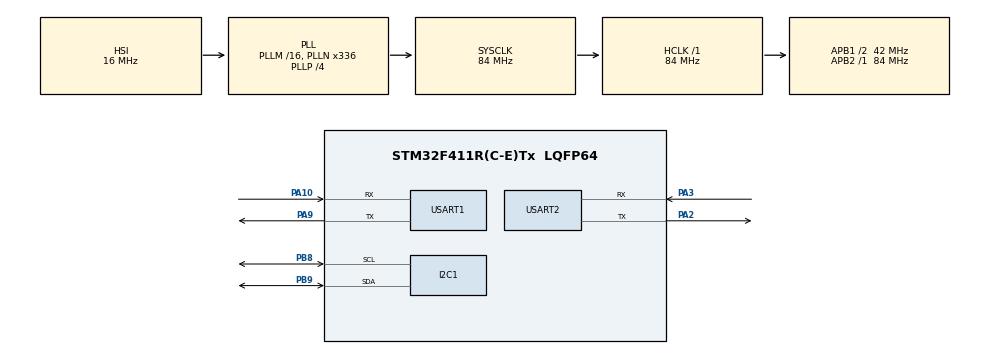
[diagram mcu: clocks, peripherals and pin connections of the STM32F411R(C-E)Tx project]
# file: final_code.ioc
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FREERTOS.Queues01=myQueue01,16,uint16_t,0,Dynamic,NULL,NULL
FREERTOS.Tasks01=defaultTask,0,128,StartDefaultTask,Default,NULL,Dynamic,NULL,NULL;recive_temp_tas,-3,128,recive_temp,Default,NULL,Dynamic,NULL,NULL;send_temp2,-3,128,send_temp,Default,NULL,Dynamic,NULL,NULL
Mcu.Family=STM32F4
Mcu.Name=STM32F411R(C-E)Tx
Mcu.Package=LQFP64
NVIC.PriorityGroup=NVIC_PRIORITYGROUP_4
NVIC.TIM1_UP_TIM10_IRQn=true\:15\:0\:false\:false\:true\:false\:false\:true\:true
NVIC.TimeBase=TIM1_UP_TIM10_IRQn
NVIC.TimeBaseIP=TIM1
NVIC.USART1_IRQn=true\:5\:0\:false\:false\:true\:true\:true\:true\:true
NVIC.USART2_IRQn=true\:5\:0\:false\:false\:true\:true\:true\:true\:true
PA10.Mode=Asynchronous
PA10.Signal=USART1_RX
PA2.Mode=Asynchronous
PA2.Signal=USART2_TX
PA3.Mode=Asynchronous
PA3.Signal=USART2_RX
PA9.Mode=Asynchronous
PA9.Signal=USART1_TX
PB8.GPIO_Pu=GPIO_PULLUP
PB8.Mode=I2C
PB8.Signal=I2C1_SCL
PB9.GPIO_Pu=GPIO_PULLUP
PB9.Mode=I2C
PB9.Signal=I2C1_SDA
ProjectManager.HeapSize=0x200
ProjectManager.StackSize=0x400
ProjectManager.TargetToolchain=STM32CubeIDE
RCC.48MHZClocksFreq_Value=84000000
RCC.AHBFreq_Value=84000000
RCC.APB1CLKDivider=RCC_HCLK_DIV2
RCC.APB1Freq_Value=42000000
RCC.APB1TimFreq_Value=84000000
RCC.APB2Freq_Value=84000000
RCC.APB2TimFreq_Value=84000000
RCC.CortexFreq_Value=84000000
RCC.FLatency-AdvancedSettings=FLASH_LATENCY_2
RCC.HCLKFreq_Value=84000000
RCC.HSE_VALUE=8000000
RCC.HSI_VALUE=16000000
RCC.LSE_VALUE=32768
RCC.PLLN=336
RCC.PLLP=RCC_PLLP_DIV4
RCC.SYSCLKFreq_VALUE=84000000
RCC.SYSCLKSource=RCC_SYSCLKSOURCE_PLLCLK
RCC.VCOOutputFreq_Value=336000000
USART1.VirtualMode=VM_ASYNC
USART2.VirtualMode=VM_ASYNC
VP_FREERTOS_VS_CMSIS_V1.Mode=CMSIS_V1
VP_SYS_VS_tim1.Mode=TIM1
board=NUCLEO-F411RE

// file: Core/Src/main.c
/* USER CODE BEGIN Header */
/**
  ******************************************************************************
  * @file           : main.c
  * @brief          : Main program body
  ******************************************************************************
  * @attention
  *
  * Copyright (c) 2023 STMicroelectronics.
  * All rights reserved.
  *
  * This software is licensed under terms that can be found in the LICENSE file
  * in the root directory of this software component.
  * If no LICENSE file comes with this software, it is provided AS-IS.
  *
  ******************************************************************************
  */
/* USER CODE END Header */
#include "main.h"
#include "cmsis_os.h"
#include"stdio.h"
#include"string.h"

I2C_HandleTypeDef hi2c1;
#define AHT25_ADDR 0x70 // Address of the AHT25 sensor

// AHT25 commands
#define AHT25_INIT_CMD 0xE1
#define AHT25_MEASURE_CMD 0xAC

UART_HandleTypeDef huart1;
UART_HandleTypeDef huart2;

osThreadId defaultTaskHandle;
osThreadId recive_temp_tasHandle;
osThreadId send_temp2Handle;
osMessageQId myQueue01Handle;

void SystemClock_Config(void);
static void MX_GPIO_Init(void);
static void MX_USART2_UART_Init(void);
static void MX_I2C1_Init(void);
static void MX_USART1_UART_Init(void);
void StartDefaultTask(void  * argument);
void recive_temp(void  * argument);
void send_temp(void  * argument);

float temperature, humidity;

void read_sensor_values(float *temperature, float *humidity)
{
    uint8_t data[6];
    uint8_t cmd = AHT25_MEASURE_CMD;

    HAL_I2C_Master_Transmit(&hi2c1, AHT25_ADDR,&cmd, 1, HAL_MAX_DELAY);
    HAL_Delay(100);
    HAL_I2C_Master_Receive(&hi2c1,0x71, data, 6, HAL_MAX_DELAY);

    *humidity = ((float)((data[1] << 12) | (data[2] << 4) | (data[3] >> 4))) / 1048576.0 * 100.0;
    *temperature = ((float)(((data[3] & 0x0F) << 16) | (data[4] << 8) | data[5])) / 1048576.0 * 200.0 - 50.0;
}
int main(void)
{

  /* MCU Configuration--------------------------------------------------------*/

  /* Reset of all peripherals, Initializes the Flash interface and the Systick. */
  HAL_Init();

  /* Configure the system clock */
  SystemClock_Config();

  /* Initialize all configured peripherals */
  MX_GPIO_Init();
  MX_USART2_UART_Init();
  MX_I2C1_Init();
  MX_USART1_UART_Init();
  WE10_Init("suru","vsf11111");
    MQTT_Init();

  /* Create the queue(s) */
  /* definition and creation of myQueue01 */
  osMessageQDef(myQueue01, 16, uint16_t);
  myQueue01Handle = osMessageCreate(osMessageQ(myQueue01), NULL);

  /* Create the thread(s) */
  /* definition and creation of defaultTask */
  osThreadDef(defaultTask, StartDefaultTask, osPriorityNormal, 0, 128);
  defaultTaskHandle = osThreadCreate(osThread(defaultTask), NULL);

  /* definition and creation of recive_temp_tas */
  osThreadDef(recive_temp_tas, recive_temp, osPriorityIdle, 0, 128);
  recive_temp_tasHandle = osThreadCreate(osThread(recive_temp_tas), NULL);

  /* definition and creation of send_temp2 */

  osThreadDef(send_temp2, send_temp, osPriorityIdle, 0, 128);
  send_temp2Handle = osThreadCreate(osThread(send_temp2), NULL);

 // read_sensor_values(&temperature, &humidity);
  /* Start scheduler */
  osKernelStart();
  /* We should never get here as control is now taken by the scheduler */
  /* Infinite loop */

  while (1)
  {

  }
}

void WE10_Init (char *SSID, char *PASSWD)
{
	char buffer[128];
	/********* CMD+RESET **********/
	//memset(&buffer[0],0x00,strlen(buffer));
	sprintf (&buffer[0], "CMD+RESET\r\n");
	HAL_UART_Transmit(&huart1, (uint8_t*)buffer, strlen(buffer), 1000);
	HAL_UART_Transmit(&huart2, (uint8_t*)buffer, strlen(buffer), 1000);

	HAL_UART_Receive(&huart1, (uint8_t*)buffer, strlen(buffer), 1000);
	HAL_UART_Transmit(&huart2, (uint8_t*)buffer, strlen(buffer), 1000);

	/*********  CMD+WIFIMODE=1  **********/
	//memset(&buffer[0],0x00,strlen(buffer));
	sprintf (&buffer[0], "CMD+WIFIMODE=1\r\n");
	HAL_UART_Transmit(&huart1, (uint8_t*)buffer, strlen(buffer), 1000);
	HAL_UART_Transmit(&huart2, (uint8_t*)buffer, strlen(buffer), 1000);

	HAL_UART_Receive(&huart1, (uint8_t*)buffer, strlen(buffer), 1000);
	HAL_UART_Transmit(&huart2, (uint8_t*)buffer, strlen(buffer), 1000);

	/********* CMD+CONTOAP=SSID,PASSWD **********/
	//memset(&buffer[0],0x00,strlen(buffer));
	sprintf (&buffer[0], "CMD+CONTOAP=suru,vsf11111\r\n", SSID, PASSWD);
	HAL_UART_Transmit(&huart1, (uint8_t*)buffer, strlen(buffer), 10000);
	HAL_UART_Transmit(&huart2, (uint8_t*)buffer, strlen(buffer), 10000);
	//memset(&buffer[0],0x00,strlen(buffer));
	HAL_Delay(2000);
	HAL_UART_Receive(&huart1, (uint8_t*)buffer, strlen(buffer), 10000);
	HAL_Delay(500);
	HAL_UART_Transmit(&huart2, (uint8_t*)buffer, strlen(buffer), 10000);

	/********* CMD?WIFI**********/
	//memset(&buffer[0],0x00,strlen(buffer));
	sprintf (&buffer[0], "CMD?WIFI\r\n");
	HAL_UART_Transmit(&huart1, (uint8_t*)buffer, strlen(buffer), 10000);
	HAL_UART_Transmit(&huart2, (uint8_t*)buffer, strlen(buffer), 10000);
//	memset(&buffer[0],0x00,strlen(buffer));
//	HAL_Delay(500);
	HAL_UART_Receive(&huart1, (uint8_t*)buffer, strlen(buffer), 10000);
	HAL_Delay(500);
	HAL_UART_Transmit(&huart2, (uint8_t*)buffer, strlen(buffer), 10000);

}

void MQTT_Init()
{

	char buffer[128];

	/*********CMD+MQTTNETCFG **********/
	//memset(&buffer[0],0x00,strlen(buffer));
	sprintf (&buffer[0], "CMD+MQTTNETCFG=dev.rightech.io,1883\r\n");
	HAL_UART_Transmit(&huart1, (uint8_t*)buffer, strlen(buffer), 10000);
	HAL_UART_Transmit(&huart2, (uint8_t*)buffer, strlen(buffer), 10000);
	//memset(&buffer[0],0x00,strlen(buffer));
	//HAL_Delay(500);
	HAL_UART_Receive(&huart1, (uint8_t*)buffer, strlen(buffer), 10000);
	HAL_Delay(500);
	HAL_UART_Transmit(&huart2, (uint8_t*)buffer, strlen(buffer), 10000);

	/*********CMD+MQTTCONCFG---->LED **********/
	//memset(&buffer[0],0x00,strlen(buffer));
	sprintf (&buffer[0], "CMD+MQTTCONCFG=3,mqtt-surabhingowda98-cbtp0j,,,,,,,,,\r\n");
	HAL_UART_Transmit(&huart1, (uint8_t*)buffer, strlen(buffer), 1000);
	HAL_UART_Transmit(&huart2, (uint8_t*)buffer, strlen(buffer), 1000);
	//memset(&buffer[0],0x00,strlen(buffer));
	//HAL_Delay(500);
	HAL_UART_Receive(&huart1, (uint8_t*)buffer, strlen(buffer), 1000);
	HAL_Delay(500);
	HAL_UART_Transmit(&huart2, (uint8_t*)buffer, strlen(buffer), 1000);

	/*********CMD+MQTTSTART **********/
	//memset(&buffer[0],0x00,strlen(buffer));
	sprintf (&buffer[0], "CMD+MQTTSTART=1\r\n");
	HAL_UART_Transmit(&huart1, (uint8_t*)buffer, strlen(buffer), 1000);
	HAL_UART_Transmit(&huart2, (uint8_t*)buffer, strlen(buffer), 1000);
//	memset(&buffer[0],0x00,strlen(buffer));
	HAL_Delay(5000);
	HAL_UART_Receive(&huart1, (uint8_t*)buffer, strlen(buffer), 1000);
	HAL_Delay(500);
	HAL_UART_Transmit(&huart2, (uint8_t*)buffer, strlen(buffer), 1000);

	/*********CMD+MQTTSUB *********/
	//memset(&buffer[0],0x00,strlen(buffer));
	sprintf (&buffer[0], "CMD+MQTTSUB=base/relay/led1\r\n");
	HAL_UART_Transmit(&huart1, (uint8_t*)buffer, strlen(buffer), 1000);
	HAL_UART_Transmit(&huart2, (uint8_t*)buffer, strlen(buffer), 1000);
	HAL_Delay(500);
	HAL_UART_Receive(&huart1, (uint8_t*)buffer, strlen(buffer), 1000);
	HAL_UART_Transmit(&huart2, (uint8_t*)buffer, strlen(buffer), 1000);

}
void SystemClock_Config(void)
{
  RCC_OscInitTypeDef RCC_OscInitStruct = {0};
  RCC_ClkInitTypeDef RCC_ClkInitStruct = {0};

  /** Configure the main internal regulator output voltage
  */
  __HAL_RCC_PWR_CLK_ENABLE();
  __HAL_PWR_VOLTAGESCALING_CONFIG(PWR_REGULATOR_VOLTAGE_SCALE1);

  /** Initializes the RCC Oscillators according to the specified parameters
  * in the RCC_OscInitTypeDef structure.
  */
  RCC_OscInitStruct.OscillatorType = RCC_OSCILLATORTYPE_HSI;
  RCC_OscInitStruct.HSIState = RCC_HSI_ON;
  RCC_OscInitStruct.HSICalibrationValue = RCC_HSICALIBRATION_DEFAULT;
  RCC_OscInitStruct.PLL.PLLState = RCC_PLL_ON;
  RCC_OscInitStruct.PLL.PLLSource = RCC_PLLSOURCE_HSI;
  RCC_OscInitStruct.PLL.PLLM = 16;
  RCC_OscInitStruct.PLL.PLLN = 336;
  RCC_OscInitStruct.PLL.PLLP = RCC_PLLP_DIV4;
  RCC_OscInitStruct.PLL.PLLQ = 4;
  if (HAL_RCC_OscConfig(&RCC_OscInitStruct) != HAL_OK)
  {
    Error_Handler();
  }

  /** Initializes the CPU, AHB and APB buses clocks
  */
  RCC_ClkInitStruct.ClockType = RCC_CLOCKTYPE_HCLK|RCC_CLOCKTYPE_SYSCLK
                              |RCC_CLOCKTYPE_PCLK1|RCC_CLOCKTYPE_PCLK2;
  RCC_ClkInitStruct.SYSCLKSource = RCC_SYSCLKSOURCE_PLLCLK;
  RCC_ClkInitStruct.AHBCLKDivider = RCC_SYSCLK_DIV1;
  RCC_ClkInitStruct.APB1CLKDivider = RCC_HCLK_DIV2;
  RCC_ClkInitStruct.APB2CLKDivider = RCC_HCLK_DIV1;

  if (HAL_RCC_ClockConfig(&RCC_ClkInitStruct, FLASH_LATENCY_2) != HAL_OK)
  {
    Error_Handler();
  }
}

static void MX_I2C1_Init(void)
{

  hi2c1.Instance = I2C1;
  hi2c1.Init.ClockSpeed = 100000;
  hi2c1.Init.DutyCycle = I2C_DUTYCYCLE_2;
  hi2c1.Init.OwnAddress1 = 0;
  hi2c1.Init.AddressingMode = I2C_ADDRESSINGMODE_7BIT;
  hi2c1.Init.DualAddressMode = I2C_DUALADDRESS_DISABLE;
  hi2c1.Init.OwnAddress2 = 0;
  hi2c1.Init.GeneralCallMode = I2C_GENERALCALL_DISABLE;
  hi2c1.Init.NoStretchMode = I2C_NOSTRETCH_DISABLE;
  if (HAL_I2C_Init(&hi2c1) != HAL_OK)
  {
    Error_Handler();
  }

}

static void MX_USART1_UART_Init(void)
{

  huart1.Instance = USART1;
  huart1.Init.BaudRate = 38400;
  huart1.Init.WordLength = UART_WORDLENGTH_8B;
  huart1.Init.StopBits = UART_STOPBITS_1;
  huart1.Init.Parity = UART_PARITY_NONE;
  huart1.Init.Mode = UART_MODE_TX_RX;
  huart1.Init.HwFlowCtl = UART_HWCONTROL_NONE;
  huart1.Init.OverSampling = UART_OVERSAMPLING_16;
  if (HAL_UART_Init(&huart1) != HAL_OK)
  {
    Error_Handler();
  }

}

static void MX_USART2_UART_Init(void)
{

  huart2.Instance = USART2;
  huart2.Init.BaudRate = 38400;
  huart2.Init.WordLength = UART_WORDLENGTH_8B;
  huart2.Init.StopBits = UART_STOPBITS_1;
  huart2.Init.Parity = UART_PARITY_NONE;
  huart2.Init.Mode = UART_MODE_TX_RX;
  huart2.Init.HwFlowCtl = UART_HWCONTROL_NONE;
  huart2.Init.OverSampling = UART_OVERSAMPLING_16;
  if (HAL_UART_Init(&huart2) != HAL_OK)
  {
    Error_Handler();
  }

}

static void MX_GPIO_Init(void)
{

  /* GPIO Ports Clock Enable */
  __HAL_RCC_GPIOA_CLK_ENABLE();
  __HAL_RCC_GPIOB_CLK_ENABLE();

}

void StartDefaultTask(void  * argument)
{
  for(;;)
  {
    osDelay(1);
  }
}

void recive_temp(void * argument)
{
  /* USER CODE BEGIN recive_temp */
  /* Infinite loop */

	for(;;)
	  {

	    if (xQueueReceive(myQueue01Handle, &temperature, portMAX_DELAY) == pdTRUE)
	    {

	      char buffer[100];

	      sprintf(buffer, "temperature=%.2f\r\n", temperature);
	      HAL_UART_Transmit_IT(&huart2, (uint8_t*)buffer, strlen(buffer));
	      HAL_Delay(10000);

	      /*********CMD+MQTTPUB ********/
	      		sprintf (&buffer[0], "CMD+MQTTPUB=base/state/temperature,%.2f\r\n",temperature);
	      		HAL_UART_Transmit_IT(&huart1, (uint8_t*)buffer, strlen(buffer));
	      		HAL_Delay(10000);

	      		//vTaskDelay(pdMS_TO_TICKS(500));
	      		/********CMD+MQTTPUB----->HUMD ********/
	     // HAL_UART_Transmit_IT(&huart2,(uint8_t*)buffer, strlen(buffer));
	    	}
	    if (xQueueReceive(myQueue01Handle, &humidity, portMAX_DELAY) == pdTRUE)
	    	    {

	    	      char buffer[100];

	    	      sprintf(buffer, "humidity=%.2f\r\n", humidity);
	    	      HAL_UART_Transmit_IT(&huart2, (uint8_t*)buffer, strlen(buffer));
	    	      HAL_Delay(10000);

	    	      sprintf (&buffer[0], "CMD+MQTTPUB=base/state/humidity,%.2f\r\n",humidity);
	    	      HAL_UART_Transmit_IT(&huart1, (uint8_t*)buffer, strlen(buffer));
	    	      HAL_Delay(10000);

	    	     // HAL_UART_Transmit_IT(&huart2,(uint8_t*)buffer, strlen(buffer));
	    	    	}

	    }
	    osDelay(1);
	  }
  /* USER CODE END recive_temp */

void send_temp(void * argument)
{
  /* USER CODE BEGIN send_temp */
  /* Infinite loop */
  for(;;)
  {
	  read_sensor_values(&temperature, &humidity);
	     osDelay(1);
	     xQueueSend(myQueue01Handle, &temperature, portMAX_DELAY);

	     xQueueSend(myQueue01Handle, &humidity, portMAX_DELAY);

    osDelay(1);
  }
  /* USER CODE END send_temp */
}

void HAL_TIM_PeriodElapsedCallback(TIM_HandleTypeDef *htim)
{
  if (htim->Instance == TIM1) {
    HAL_IncTick();
  }
}

void Error_Handler(void)
{
  __disable_irq();
  while (1)
  {
  }
}
